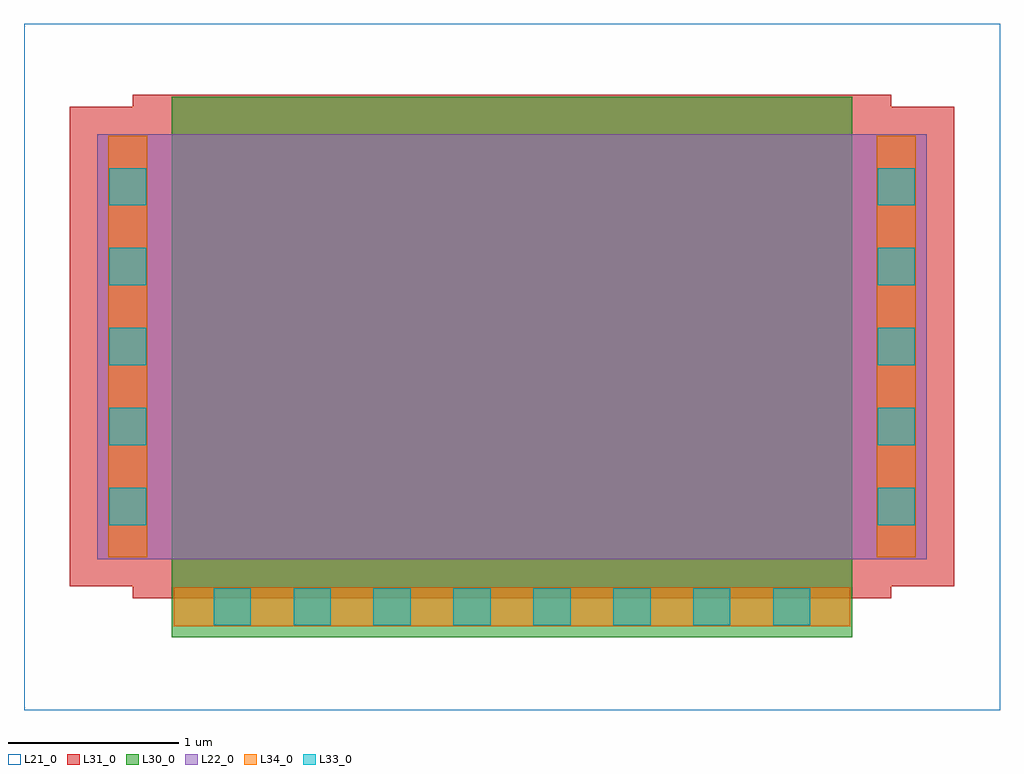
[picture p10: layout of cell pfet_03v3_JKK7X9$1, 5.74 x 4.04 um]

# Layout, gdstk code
import gdstk
lib = gdstk.Library(unit=1e-6, precision=1e-09)
def R(c, l, rs):  # rectangles x0, y0, x1, y1
    for r in rs: c.add(gdstk.rectangle(r[:2], r[2:], *l))
def A(c, l, x, y, w, h, nx, ny, dx, dy):  # array of equal rectangles
    R(c, l, [(x+i*dx, y+j*dy, x+i*dx+w, y+j*dy+h) for i in range(nx) for j in range(ny)])
L21_0 = (21, 0)
L22_0 = (22, 0)
L30_0 = (30, 0)
L31_0 = (31, 0)
L33_0 = (33, 0)
L34_0 = (34, 0)

pfet_03v3_jkk7x9_1 = lib.new_cell('pfet_03v3_JKK7X9$1')
R(pfet_03v3_jkk7x9_1, L21_0, [(-2.87,-2.02,2.87,2.02)])
R(pfet_03v3_jkk7x9_1, L22_0, [(-2.44,-1.13,2.44,1.37)])
R(pfet_03v3_jkk7x9_1, L30_0, [(-2,-1.59,2,1.59)])
R(pfet_03v3_jkk7x9_1, L31_0, [(-2.23,-1.36,2.23,-1.29), (-2.6,-1.29,2.6,1.53), (-2.23,1.53,2.23,1.6)])
A(pfet_03v3_jkk7x9_1, L33_0, -1.755, -1.52, 0.22, 0.22, 8, 1, 0.47, 0)
A(pfet_03v3_jkk7x9_1, L33_0, -2.37, -0.93, 0.22, 0.22, 1, 5, 0, 0.47)
A(pfet_03v3_jkk7x9_1, L33_0, 2.15, -0.93, 0.22, 0.22, 1, 5, 0, 0.47)
R(pfet_03v3_jkk7x9_1, L34_0, [(-1.99,-1.525,1.99,-1.295), (-2.375,-1.12,-2.145,1.36), (2.145,-1.12,2.375,1.36)])

lib.write_gds('pfet_03v3_JKK7X9_1.gds')
